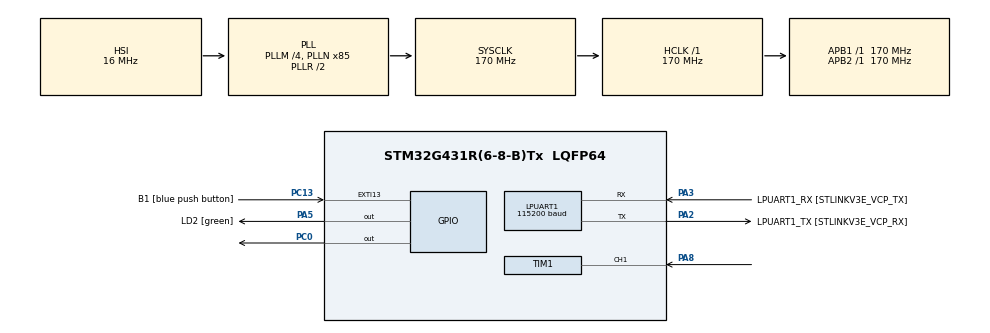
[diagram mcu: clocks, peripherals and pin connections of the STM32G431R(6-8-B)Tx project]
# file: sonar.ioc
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LPUART1.BaudRate=115200
LPUART1.WordLength=UART_WORDLENGTH_8B
Mcu.Family=STM32G4
Mcu.Name=STM32G431R(6-8-B)Tx
Mcu.Package=LQFP64
NVIC.PriorityGroup=NVIC_PRIORITYGROUP_4
NVIC.TIM1_CC_IRQn=true\:0\:0\:false\:false\:true\:true\:true\:true
PA13.GPIO_Label=T_SWDIO
PA13.Mode=Serial_Wire
PA13.Signal=SYS_JTMS-SWDIO
PA14.GPIO_Label=T_SWCLK
PA14.Mode=Serial_Wire
PA14.Signal=SYS_JTCK-SWCLK
PA2.GPIO_Label=LPUART1_TX [STLINKV3E_VCP_RX]
PA2.Mode=Asynchronous
PA2.Signal=LPUART1_TX
PA3.GPIO_Label=LPUART1_RX [STLINKV3E_VCP_TX]
PA3.Mode=Asynchronous
PA3.Signal=LPUART1_RX
PA5.GPIO_Label=LD2 [green]
PA5.Signal=GPIO_Output
PA8.Signal=S_TIM1_CH1
PB3.GPIO_Label=T_SWO
PB3.Signal=SYS_JTDO-SWO
PC0.Signal=GPIO_Output
PC13.GPIO_Label=B1 [blue push button]
PC13.Signal=GPXTI13
PC14-OSC32_IN.Mode=LSE-External-Oscillator
PC14-OSC32_IN.Signal=RCC_OSC32_IN
PC15-OSC32_OUT.Mode=LSE-External-Oscillator
PC15-OSC32_OUT.Signal=RCC_OSC32_OUT
PF0-OSC_IN.Mode=HSE-External-Oscillator
PF0-OSC_IN.Signal=RCC_OSC_IN
PF1-OSC_OUT.Mode=HSE-External-Oscillator
PF1-OSC_OUT.Signal=RCC_OSC_OUT
ProjectManager.HeapSize=0x200
ProjectManager.StackSize=0x400
ProjectManager.TargetToolchain=STM32CubeIDE
RCC.ADC12Freq_Value=170000000
RCC.AHBFreq_Value=170000000
RCC.APB1Freq_Value=170000000
RCC.APB1TimFreq_Value=170000000
RCC.APB2Freq_Value=170000000
RCC.APB2TimFreq_Value=170000000
RCC.CortexFreq_Value=170000000
RCC.EXTERNAL_CLOCK_VALUE=12288000
RCC.HCLKFreq_Value=170000000
RCC.HSE_VALUE=24000000
RCC.HSI48_VALUE=48000000
RCC.HSI_VALUE=16000000
RCC.PLLM=RCC_PLLM_DIV4
RCC.PLLN=85
RCC.RTCClockSelection=RCC_RTCCLKSOURCE_LSE
RCC.SYSCLKFreq_VALUE=170000000
RCC.SYSCLKSource=RCC_SYSCLKSOURCE_PLLCLK
RCC.USBFreq_Value=170000000
RCC.VCOOutputFreq_Value=340000000
SH.S_TIM1_CH1.0=TIM1_CH1,Input_Capture1_from_TI1
TIM1.Channel-Input_Capture1_from_TI1=TIM_CHANNEL_1
TIM1.PeriodNoDither=999
TIM1.Prescaler=169
VP_SYS_VS_DBSignals.Mode=DisableDeadBatterySignals
board=NUCLEO-G431RB

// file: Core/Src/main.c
/* USER CODE BEGIN Header */
/**
  ******************************************************************************
  * @file           : main.c
  * @brief          : Main program body
  ******************************************************************************
  * @attention
  *
  * Copyright (c) 2022 STMicroelectronics.
  * All rights reserved.
  *
  * This software is licensed under terms that can be found in the LICENSE file
  * in the root directory of this software component.
  * If no LICENSE file comes with this software, it is provided AS-IS.
  *
  ******************************************************************************
  */
/* USER CODE END Header */
#include "main.h"

/* USER CODE BEGIN Includes */
#include "stdio.h"
#include <math.h>

/* USER CODE END Includes */

UART_HandleTypeDef hlpuart1;

TIM_HandleTypeDef htim1;

/* USER CODE BEGIN PV */

uint32_t IC_Val1 = 0;
uint32_t IC_Val2 = 0;
uint32_t Difference = 0;
uint8_t Is_First_Captured = 0;  // is the first value captured ?
uint8_t Distance  = 0;

/* USER CODE END PV */

void SystemClock_Config(void);
static void MX_GPIO_Init(void);
static void MX_LPUART1_UART_Init(void);
static void MX_TIM1_Init(void);

/* USER CODE BEGIN 0 */

int __io_putchar(int ch) {
HAL_UART_Transmit(&hlpuart1, (uint8_t *)&ch, 1, HAL_MAX_DELAY);
return ch;
}

void delay(uint16_t time)
{
	__HAL_TIM_SET_COUNTER(&htim1, 0);
	while(__HAL_TIM_GET_COUNTER(&htim1) < time);
}

void HAL_TIM_IC_CaptureCallback(TIM_HandleTypeDef *htim)
{
	if (htim->Channel == HAL_TIM_ACTIVE_CHANNEL_1)  // if the interrupt source is channel1
	{
		if (Is_First_Captured==0) // if the first value is not captured
		{
			IC_Val1 = HAL_TIM_ReadCapturedValue(htim, TIM_CHANNEL_1); // read the first value
			Is_First_Captured = 1;  // set the first captured as true
			// Now change the polarity to falling edge
			__HAL_TIM_SET_CAPTUREPOLARITY(htim, TIM_CHANNEL_1, TIM_INPUTCHANNELPOLARITY_FALLING);
		}

		else if (Is_First_Captured==1)   // if the first is already captured
		{
			IC_Val2 = HAL_TIM_ReadCapturedValue(htim, TIM_CHANNEL_1);  // read second value
			__HAL_TIM_SET_COUNTER(htim, 0);  // reset the counter

			if (IC_Val2 > IC_Val1)
			{
				Difference = IC_Val2-IC_Val1;
			}

			else if (IC_Val1 > IC_Val2)
			{
				Difference = (0xffff - IC_Val1) + IC_Val2;
			}

			Distance = Difference * .034/2;
						Is_First_Captured = 0; // set it back to false

						// set polarity to rising edge
						__HAL_TIM_SET_CAPTUREPOLARITY(htim, TIM_CHANNEL_1, TIM_INPUTCHANNELPOLARITY_RISING);
						__HAL_TIM_DISABLE_IT(&htim1, TIM_IT_CC1);

						printf(" %u dans l'interruption \r\n", (int)(Distance));
					}
				}
			}

/* USER CODE END 0 */

int main(void)
{

  /* MCU Configuration--------------------------------------------------------*/

  /* Reset of all peripherals, Initializes the Flash interface and the Systick. */
  HAL_Init();

  /* Configure the system clock */
  SystemClock_Config();

  /* Initialize all configured peripherals */
  MX_GPIO_Init();
  MX_LPUART1_UART_Init();
  MX_TIM1_Init();
  /* USER CODE BEGIN 2 */

// On lance le sonar

// Le sonar est opérationnel, il devrait envoyer des
// signaux à intervalle de temps regulier

  HAL_TIM_IC_Start_IT(&htim1, TIM_CHANNEL_1);

  /* USER CODE END 2 */

  /* Infinite loop */
  while (1)
  {

    /* USER CODE BEGIN 3 */

	  HAL_GPIO_WritePin(GPIOC, GPIO_PIN_0, GPIO_PIN_SET);
	  delay(10);
	  HAL_GPIO_WritePin(GPIOC, GPIO_PIN_0, GPIO_PIN_RESET);

	  __HAL_TIM_ENABLE_IT(&htim1, TIM_IT_CC1);
	  HAL_Delay(200);

	  //printf(" %u \r\n", (int)(Distance));
  }
  /* USER CODE END 3 */
}

void SystemClock_Config(void)
{
  RCC_OscInitTypeDef RCC_OscInitStruct = {0};
  RCC_ClkInitTypeDef RCC_ClkInitStruct = {0};

  /** Configure the main internal regulator output voltage
  */
  HAL_PWREx_ControlVoltageScaling(PWR_REGULATOR_VOLTAGE_SCALE1_BOOST);

  /** Initializes the RCC Oscillators according to the specified parameters
  * in the RCC_OscInitTypeDef structure.
  */
  RCC_OscInitStruct.OscillatorType = RCC_OSCILLATORTYPE_HSI;
  RCC_OscInitStruct.HSIState = RCC_HSI_ON;
  RCC_OscInitStruct.HSICalibrationValue = RCC_HSICALIBRATION_DEFAULT;
  RCC_OscInitStruct.PLL.PLLState = RCC_PLL_ON;
  RCC_OscInitStruct.PLL.PLLSource = RCC_PLLSOURCE_HSI;
  RCC_OscInitStruct.PLL.PLLM = RCC_PLLM_DIV4;
  RCC_OscInitStruct.PLL.PLLN = 85;
  RCC_OscInitStruct.PLL.PLLP = RCC_PLLP_DIV2;
  RCC_OscInitStruct.PLL.PLLQ = RCC_PLLQ_DIV2;
  RCC_OscInitStruct.PLL.PLLR = RCC_PLLR_DIV2;
  if (HAL_RCC_OscConfig(&RCC_OscInitStruct) != HAL_OK)
  {
    Error_Handler();
  }

  /** Initializes the CPU, AHB and APB buses clocks
  */
  RCC_ClkInitStruct.ClockType = RCC_CLOCKTYPE_HCLK|RCC_CLOCKTYPE_SYSCLK
                              |RCC_CLOCKTYPE_PCLK1|RCC_CLOCKTYPE_PCLK2;
  RCC_ClkInitStruct.SYSCLKSource = RCC_SYSCLKSOURCE_PLLCLK;
  RCC_ClkInitStruct.AHBCLKDivider = RCC_SYSCLK_DIV1;
  RCC_ClkInitStruct.APB1CLKDivider = RCC_HCLK_DIV1;
  RCC_ClkInitStruct.APB2CLKDivider = RCC_HCLK_DIV1;

  if (HAL_RCC_ClockConfig(&RCC_ClkInitStruct, FLASH_LATENCY_4) != HAL_OK)
  {
    Error_Handler();
  }
}

static void MX_LPUART1_UART_Init(void)
{

  hlpuart1.Instance = LPUART1;
  hlpuart1.Init.BaudRate = 115200;
  hlpuart1.Init.WordLength = UART_WORDLENGTH_8B;
  hlpuart1.Init.StopBits = UART_STOPBITS_1;
  hlpuart1.Init.Parity = UART_PARITY_NONE;
  hlpuart1.Init.Mode = UART_MODE_TX_RX;
  hlpuart1.Init.HwFlowCtl = UART_HWCONTROL_NONE;
  hlpuart1.Init.OneBitSampling = UART_ONE_BIT_SAMPLE_DISABLE;
  hlpuart1.Init.ClockPrescaler = UART_PRESCALER_DIV1;
  hlpuart1.AdvancedInit.AdvFeatureInit = UART_ADVFEATURE_NO_INIT;
  if (HAL_UART_Init(&hlpuart1) != HAL_OK)
  {
    Error_Handler();
  }
  if (HAL_UARTEx_SetTxFifoThreshold(&hlpuart1, UART_TXFIFO_THRESHOLD_1_8) != HAL_OK)
  {
    Error_Handler();
  }
  if (HAL_UARTEx_SetRxFifoThreshold(&hlpuart1, UART_RXFIFO_THRESHOLD_1_8) != HAL_OK)
  {
    Error_Handler();
  }
  if (HAL_UARTEx_DisableFifoMode(&hlpuart1) != HAL_OK)
  {
    Error_Handler();
  }

}

static void MX_TIM1_Init(void)
{

  TIM_MasterConfigTypeDef sMasterConfig = {0};
  TIM_IC_InitTypeDef sConfigIC = {0};

  htim1.Instance = TIM1;
  htim1.Init.Prescaler = 169;
  htim1.Init.CounterMode = TIM_COUNTERMODE_UP;
  htim1.Init.Period = 999;
  htim1.Init.ClockDivision = TIM_CLOCKDIVISION_DIV1;
  htim1.Init.RepetitionCounter = 0;
  htim1.Init.AutoReloadPreload = TIM_AUTORELOAD_PRELOAD_DISABLE;
  if (HAL_TIM_IC_Init(&htim1) != HAL_OK)
  {
    Error_Handler();
  }
  sMasterConfig.MasterOutputTrigger = TIM_TRGO_RESET;
  sMasterConfig.MasterOutputTrigger2 = TIM_TRGO2_RESET;
  sMasterConfig.MasterSlaveMode = TIM_MASTERSLAVEMODE_DISABLE;
  if (HAL_TIMEx_MasterConfigSynchronization(&htim1, &sMasterConfig) != HAL_OK)
  {
    Error_Handler();
  }
  sConfigIC.ICPolarity = TIM_INPUTCHANNELPOLARITY_RISING;
  sConfigIC.ICSelection = TIM_ICSELECTION_DIRECTTI;
  sConfigIC.ICPrescaler = TIM_ICPSC_DIV1;
  sConfigIC.ICFilter = 0;
  if (HAL_TIM_IC_ConfigChannel(&htim1, &sConfigIC, TIM_CHANNEL_1) != HAL_OK)
  {
    Error_Handler();
  }

}

static void MX_GPIO_Init(void)
{
  GPIO_InitTypeDef GPIO_InitStruct = {0};

  /* GPIO Ports Clock Enable */
  __HAL_RCC_GPIOC_CLK_ENABLE();
  __HAL_RCC_GPIOF_CLK_ENABLE();
  __HAL_RCC_GPIOA_CLK_ENABLE();
  __HAL_RCC_GPIOB_CLK_ENABLE();

  /*Configure GPIO pin Output Level */
  HAL_GPIO_WritePin(GPIOC, GPIO_PIN_0, GPIO_PIN_RESET);

  /*Configure GPIO pin Output Level */
  HAL_GPIO_WritePin(LD2_GPIO_Port, LD2_Pin, GPIO_PIN_RESET);

  /*Configure GPIO pin : B1_Pin */
  GPIO_InitStruct.Pin = B1_Pin;
  GPIO_InitStruct.Mode = GPIO_MODE_IT_RISING;
  GPIO_InitStruct.Pull = GPIO_NOPULL;
  HAL_GPIO_Init(B1_GPIO_Port, &GPIO_InitStruct);

  /*Configure GPIO pin : PC0 */
  GPIO_InitStruct.Pin = GPIO_PIN_0;
  GPIO_InitStruct.Mode = GPIO_MODE_OUTPUT_PP;
  GPIO_InitStruct.Pull = GPIO_NOPULL;
  GPIO_InitStruct.Speed = GPIO_SPEED_FREQ_LOW;
  HAL_GPIO_Init(GPIOC, &GPIO_InitStruct);

  /*Configure GPIO pin : LD2_Pin */
  GPIO_InitStruct.Pin = LD2_Pin;
  GPIO_InitStruct.Mode = GPIO_MODE_OUTPUT_PP;
  GPIO_InitStruct.Pull = GPIO_NOPULL;
  GPIO_InitStruct.Speed = GPIO_SPEED_FREQ_LOW;
  HAL_GPIO_Init(LD2_GPIO_Port, &GPIO_InitStruct);

}

void Error_Handler(void)
{
  __disable_irq();
  while (1)
  {
  }
}
